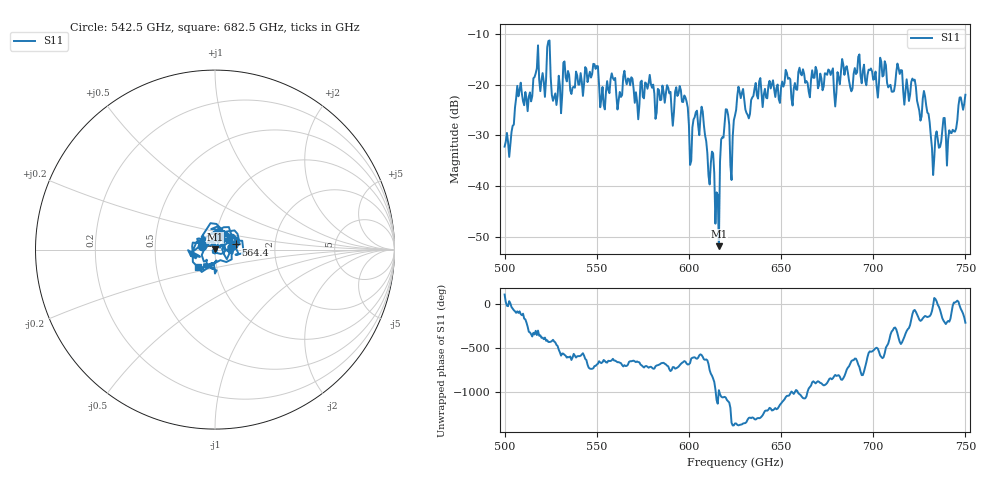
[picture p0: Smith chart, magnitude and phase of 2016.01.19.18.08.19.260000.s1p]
!Created with skrf (http://scikit-rf.org).
# GHz S RI R 50.0
!freq ReS11 ImS11
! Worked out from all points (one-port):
!   401 points, 500 GHz to 750 GHz, reference 50 ohm
!   lowest |S11| = -51.8 dB at 616.2 GHz (marker M1), VSWR 1.01, Z = 49.9 + j0.248 ohm
!   |S11| at or under -10 dB: start of sweep to end of sweep
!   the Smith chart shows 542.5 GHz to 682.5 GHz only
!   S11 on the Smith chart (normalised r, x): 542.5 GHz: 0.86, +0.04; 564.4 GHz: 1.26, +0.07; 682.5 GHz: 0.81, -0.16
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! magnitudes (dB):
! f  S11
! 500 GHz  -32.2
! 516.9 GHz  -17.7
! 531.2 GHz  -22.1
! 542.5 GHz  -22.2
! 549.4 GHz  -16.9
! 553.1 GHz  -20.4
! 558.8 GHz  -18.7
! 562.5 GHz  -21.4
! 564.4 GHz  -18.4
! 593.8 GHz  -22.2
! 601.2 GHz  -35.0
! 607.5 GHz  -25.3
! 615 GHz  -41.2
! 616.2 GHz  -51.8
! 619.4 GHz  -27.5
! 623.1 GHz  -38.8
! 625 GHz  -26.1
! 628.1 GHz  -22.6
! 631.9 GHz  -26.0
! 637.5 GHz  -22.7
! 656.2 GHz  -24.1
! 682.5 GHz  -17.3
! 687.5 GHz  -20.5
! 705 GHz  -18.4
! 718.8 GHz  -20.8
! 728.1 GHz  -22.3
! 732.5 GHz  -37.8
! 750 GHz  -22.0
